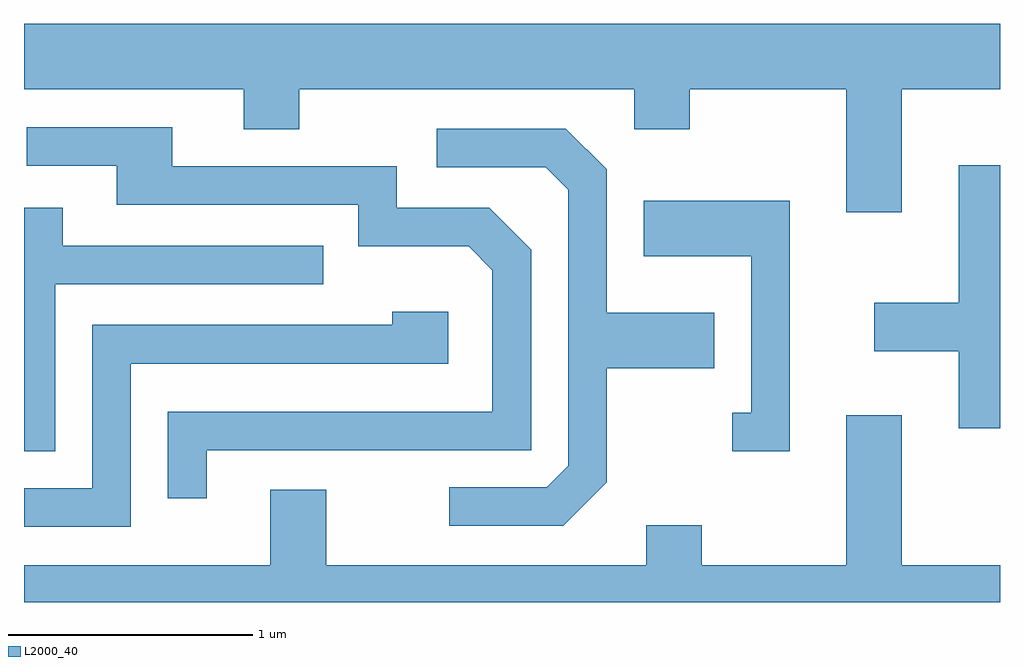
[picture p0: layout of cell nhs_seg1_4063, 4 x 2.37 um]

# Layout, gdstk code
import gdstk
lib = gdstk.Library(unit=1e-6, precision=1e-09)
def P(c, l, *ps):  # polygons
    for p in ps: c.add(gdstk.Polygon(p, *l))
L2000_40 = (2000, 40)

nhs_seg1_4063 = lib.new_cell('nhs_seg1_4063')
P(nhs_seg1_4063, L2000_40, [(311.209,881.816),(311.611,881.816),(311.611,882.084),(307.611,882.084),(307.611,881.816),(308.511,881.816),(308.511,881.651),(308.739,881.651),(308.739,881.816),(310.111,881.816),(310.111,881.651),(310.339,881.651),(310.339,881.816),(310.981,881.816),(310.981,881.311),(311.209,881.311)],
  [(308.359,880.336),(309.689,880.336),(309.689,881.157),(309.517,881.329),(309.139,881.329),(309.139,881.499),(308.219,881.499),(308.219,881.659),(307.623,881.659),(307.623,881.501),(307.991,881.501),(307.991,881.341),(308.981,881.341),(308.981,881.171),(309.434,881.171),(309.531,881.074),(309.531,880.494),(308.201,880.494),(308.201,880.138),(308.359,880.138)],
  [(309.999,880.204),(309.999,880.671),(310.439,880.671),(310.439,880.899),(309.999,880.899),(309.999,881.487),(309.832,881.654),(309.303,881.654),(309.303,881.496),(309.749,881.496),(309.841,881.404),(309.841,880.272),(309.754,880.184),(309.353,880.184),(309.353,880.026),(309.822,880.026)],
  [(311.611,881.504),(311.441,881.504),(311.441,880.939),(311.096,880.939),(311.096,880.741),(311.441,880.741),(311.441,880.426),(311.611,880.426)],
  [(310.749,881.359),(310.151,881.359),(310.151,881.131),(310.591,881.131),(310.591,880.489),(310.513,880.489),(310.513,880.331),(310.749,880.331)],
  [(307.739,881.016),(308.838,881.016),(308.838,881.174),(307.769,881.174),(307.769,881.329),(307.611,881.329),(307.611,880.331),(307.739,880.331)],
  [(308.049,880.691),(309.349,880.691),(309.349,880.904),(309.121,880.904),(309.121,880.849),(307.891,880.849),(307.891,880.179),(307.611,880.179),(307.611,880.021),(308.049,880.021)],
  [(311.611,879.864),(311.209,879.864),(311.209,880.479),(310.981,880.479),(310.981,879.864),(310.389,879.864),(310.389,880.029),(310.161,880.029),(310.161,879.864),(308.849,879.864),(308.849,880.174),(308.621,880.174),(308.621,879.864),(307.611,879.864),(307.611,879.712),(311.611,879.712)])

lib.write_gds('nhs_seg1_4063.gds')
